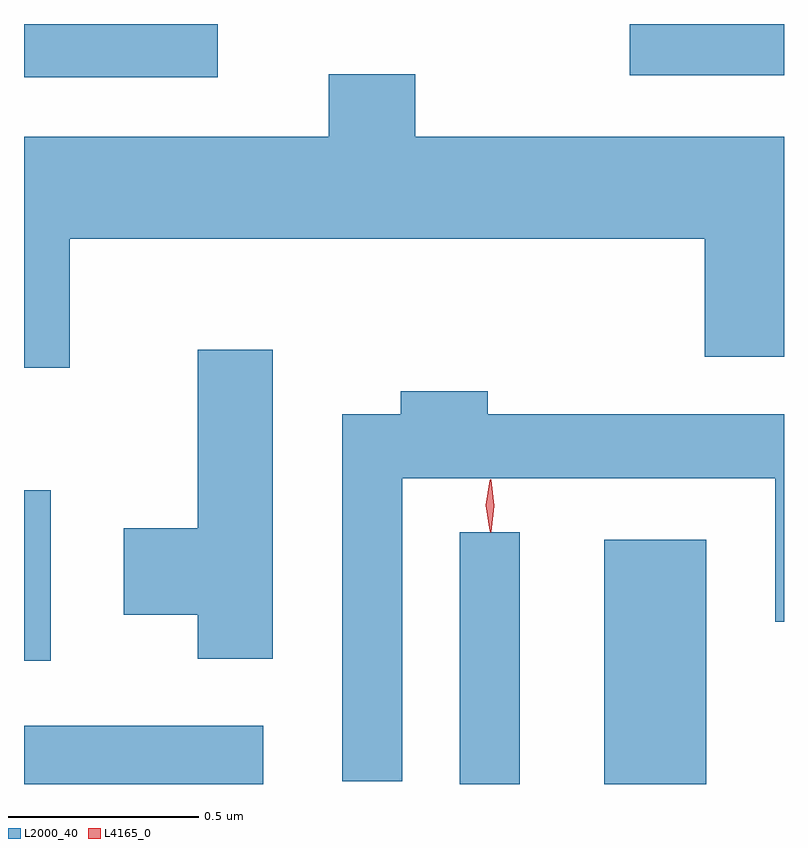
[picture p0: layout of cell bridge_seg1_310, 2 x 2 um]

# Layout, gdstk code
import gdstk
lib = gdstk.Library(unit=1e-6, precision=1e-09)
def R(c, l, rs):  # rectangles x0, y0, x1, y1
    for r in rs: c.add(gdstk.rectangle(r[:2], r[2:], *l))
def P(c, l, *ps):  # polygons
    for p in ps: c.add(gdstk.Polygon(p, *l))
L2000_40 = (2000, 40)
L4165_0 = (4165, 0)

bridge_seg1_310 = lib.new_cell('bridge_seg1_310')
R(bridge_seg1_310, L2000_40, [(886.389,875.941,887.019,876.094), (887.536,875.941,887.694,876.603), (887.916,875.941,888.184,876.584), (886.389,876.266,886.459,876.714), (886.389,877.801,886.899,877.941), (887.983,877.806,888.389,877.941)])
P(bridge_seg1_310, L2000_40, [(886.509,877.376),(888.181,877.376),(888.181,877.066),(888.389,877.066),(888.389,877.644),(887.419,877.644),(887.419,877.809),(887.191,877.809),(887.191,877.644),(886.389,877.644),(886.389,877.036),(886.509,877.036)],
  [(887.044,877.084),(886.846,877.084),(886.846,876.614),(886.651,876.614),(886.651,876.386),(886.846,876.386),(886.846,876.271),(887.044,876.271)],
  [(887.384,876.746),(888.366,876.746),(888.366,876.368),(888.389,876.368),(888.389,876.914),(887.609,876.914),(887.609,876.974),(887.381,876.974),(887.381,876.914),(887.226,876.914),(887.226,875.948),(887.384,875.948)])
P(bridge_seg1_310, L4165_0, [(887.616,876.604),(887.607,876.673),(887.616,876.742),(887.617,876.743),(887.618,876.742),(887.627,876.673),(887.618,876.604),(887.617,876.604)],
  [(887.614,876.607),(887.614,876.608),(887.604,876.674),(887.614,876.74),(887.614,876.741),(887.615,876.74),(887.624,876.674),(887.615,876.608)])

lib.write_gds('bridge_seg1_310.gds')
